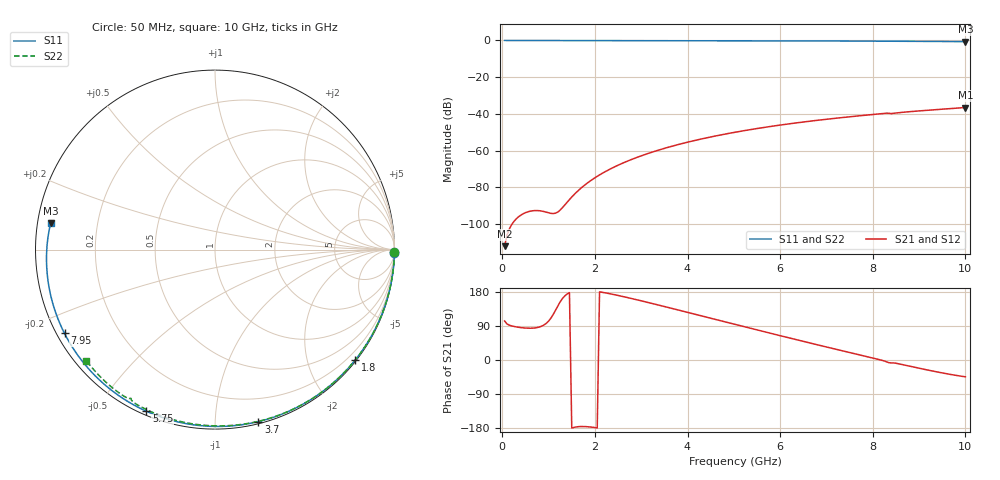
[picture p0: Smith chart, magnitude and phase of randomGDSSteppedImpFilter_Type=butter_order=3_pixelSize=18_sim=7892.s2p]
! freq	dB(S11)	phase(S11)	dB(S12)	phase(S12)
!  dB(S21)	phase(S21)	dB(S22)	phase(S22)
!S-par simulation data
#  GHz  S  DB  R 50
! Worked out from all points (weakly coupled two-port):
!   200 points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, 50 MHz to 10 GHz, reference 50 ohm
!   highest |S21| = -36.51 dB at 10 GHz (marker M1); lowest = -112.0 dB at 50 MHz (marker M2)
!   lowest |S11| = -0.7 dB at 10 GHz (marker M3), VSWR 26.51, Z = 1.9 + j4.01 ohm
!   |S11| at or under -10 dB: nowhere
!   |S22| runs from -0.5 to 0.0 dB; largest |S21 - S12| = 0
!   S11 on the Smith chart (normalised r, x): 50 MHz: open; 1.8 GHz: 0.03, -2.89; 3.7 GHz: 0.02, -1.28; 5.75 GHz: 0.02, -0.66; 7.95 GHz: 0.02, -0.26; 10 GHz: 0.04, +0.08
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0.05  -0.00 -1.1  -112.01 103.0  -112.01 103.0  -0.00 -0.8
0.45  -0.01 -9.7  -94.38 84.8  -94.38 84.8  -0.01 -7.3
0.85  -0.02 -18.3  -92.89 89.2  -92.89 89.2  -0.02 -13.7
1.7  -0.05 -36.1  -80.39 -175.6  -80.39 -175.6  -0.03 -27.1
1.75  -0.05 -37.2  -79.34 -175.5  -79.34 -175.5  -0.04 -27.8
1.8  -0.05 -38.2  -78.34 -175.8  -78.34 -175.8  -0.04 -28.6
2.1  -0.06 -44.4  -73.20 179.9  -73.20 179.9  -0.04 -33.3
2.5  -0.07 -52.5  -67.93 170.3  -67.93 170.3  -0.05 -39.4
2.9  -0.08 -60.4  -63.74 159.1  -63.74 159.1  -0.06 -45.5
3.4  -0.09 -70.1  -59.51 144.2  -59.51 144.2  -0.07 -52.9
3.7  -0.10 -75.9  -57.34 135.0  -57.34 135.0  -0.08 -57.3
4.35  -0.12 -88.0  -53.36 114.9  -53.36 114.9  -0.10 -66.7
5.05  -0.15 -100.7  -49.87 93.3  -49.87 93.3  -0.12 -76.5
5.75  -0.19 -113.0  -46.99 71.8  -46.99 71.8  -0.14 -86.0
6.7  -0.25 -129.4  -43.78 43.2  -43.78 43.2  -0.19 -98.5
7.35  -0.30 -140.6  -41.95 24.0  -41.95 24.0  -0.23 -106.8
7.95  -0.36 -150.9  -40.44 6.7  -40.44 6.7  -0.27 -114.3
8.35  -0.40 -157.9  -39.64 -7.2  -39.64 -7.2  -0.43 -119.5
8.4  -0.41 -158.8  -39.81 -7.7  -39.81 -7.7  -0.43 -119.5
8.55  -0.42 -161.4  -39.36 -9.8  -39.36 -9.8  -0.34 -121.3
9.2  -0.51 -173.3  -37.98 -26.8  -37.98 -26.8  -0.39 -129.4
10  -0.66 170.8  -36.51 -44.3  -36.51 -44.3  -0.47 -139.1
